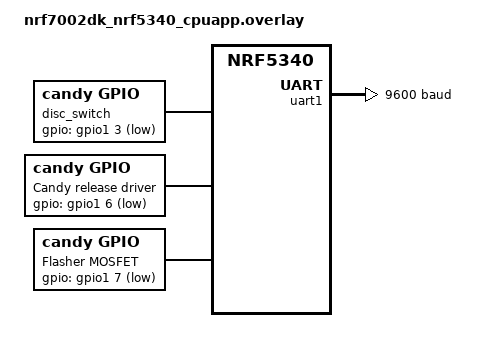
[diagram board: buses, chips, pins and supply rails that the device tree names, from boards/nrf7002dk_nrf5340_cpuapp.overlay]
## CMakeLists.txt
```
cmake_minimum_required(VERSION 3.20.0)
# Wi-Fi/server settings live in a git-ignored file (see wifi_secrets.conf.example)
if(EXISTS ${CMAKE_CURRENT_SOURCE_DIR}/wifi_secrets.conf)
  list(APPEND EXTRA_CONF_FILE ${CMAKE_CURRENT_SOURCE_DIR}/wifi_secrets.conf)
endif()
find_package(Zephyr REQUIRED HINTS $ENV{ZEPHYR_BASE})
project(halloween_candy_dispenser)
target_sources(app PRIVATE src/main.c src/report.c ../common/fota.c)
target_include_directories(app PRIVATE ../common)
if(CONFIG_HALLOWEEN_DFPLAYER)
  target_sources(app PRIVATE ../common/dfplayer.c)
endif()
```

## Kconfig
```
menu "Candy dispenser reporting"

config HALLOWEEN_WIFI_SSID
    string "Wi-Fi SSID"
    default ""
    help
      Leave empty to disable reporting. Set it in the git-ignored
      wifi_secrets.conf (see wifi_secrets.conf.example).

config HALLOWEEN_WIFI_PASSWORD
    string "Wi-Fi password (WPA2/WPA3-Personal, empty for an open network)"
    default ""

config HALLOWEEN_REPORT_HOST
    string "Dispense counter server host or IPv4 address"
    default ""

config HALLOWEEN_REPORT_PORT
    int "Dispense counter server TCP port"
    default 8080

config HALLOWEEN_REPORT_PATH
    string "HTTP path that receives dispense events"
    default "/api/dispense"

config HALLOWEEN_REPORT_API_KEY
    string "API key sent in the X-API-Key header"
    default ""

config HALLOWEEN_REPORT_TEST
    bool "Report test mode: send a fake dispense event every second"
    help
      Exercises the Wi-Fi/web server flow without releasing candy. Keep off
      for normal operation.

endmenu

menu "Candy dispenser flasher"

config HALLOWEEN_FLASH_SECONDS
    int "Seconds the flasher output flashes after a candy release"
    range 1 600
    default 40
    help
      Set this to the length of the final celebration song. Used only when the board
      overlay has a flasher node (MOSFET output).

config HALLOWEEN_FLASH_PERIOD_MS
    int "Flash period in milliseconds (on + off)"
    range 20 10000
    default 500

endmenu

menu "Candy dispenser sound"

config HALLOWEEN_DFPLAYER
    bool "DFPlayer Mini sound module on UART1"
    select SERIAL
    select UART_INTERRUPT_DRIVEN
    help
      Plays tracks requested by the stations (MSG_PLAY_TRACK, or the track
      in the candy release request). Needs a dfplayer_uart node in the
      board overlay.

config HALLOWEEN_DFPLAYER_VOLUME
    int "DFPlayer volume (0..30)"
    range 0 30
    default 20
    depends on HALLOWEEN_DFPLAYER

endmenu

source "Kconfig.zephyr"
```

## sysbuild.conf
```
# Wi-Fi firmware support; no MCUboot because the Wi-Fi app does not fit a 464 KB slot
SB_CONFIG_WIFI_NRF70=y
# Network core must run the BT HCI firmware, otherwise "HCI driver open failed (-11)"
SB_CONFIG_NETCORE_IPC_RADIO=y
SB_CONFIG_NETCORE_IPC_RADIO_BT_HCI_IPC=y
SB_CONFIG_PARTITION_MANAGER=n
```

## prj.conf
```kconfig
CONFIG_GPIO=y

CONFIG_BT=y
CONFIG_BT_OBSERVER=y
CONFIG_BT_BROADCASTER=y
CONFIG_BT_DEVICE_NAME="HalloweenCandy"

CONFIG_LOG=y
CONFIG_LOG_DEFAULT_LEVEL=3
CONFIG_MAIN_STACK_SIZE=4096
CONFIG_HEAP_MEM_POOL_SIZE=1024
```

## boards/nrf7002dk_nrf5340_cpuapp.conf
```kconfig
CONFIG_WIFI=y
CONFIG_WIFI_NRF70=y
CONFIG_WIFI_NM_WPA_SUPPLICANT=y
CONFIG_NETWORKING=y
CONFIG_NET_L2_ETHERNET=y
CONFIG_NET_SOCKETS=y
CONFIG_NET_IPV4=y
CONFIG_NET_TCP=y
CONFIG_NET_DHCPV4=y
CONFIG_DNS_RESOLVER=y
CONFIG_NET_CONFIG_SETTINGS=y
CONFIG_NET_CONFIG_INIT_TIMEOUT=0
CONFIG_HTTP_CLIENT=y
CONFIG_ENTROPY_GENERATOR=y
CONFIG_POSIX_TIMERS=y
CONFIG_HEAP_MEM_POOL_SIZE=37000
CONFIG_HEAP_MEM_POOL_IGNORE_MIN=y
CONFIG_NRF_WIFI_CTRL_HEAP_SIZE=20000
CONFIG_NRF_WIFI_DATA_HEAP_SIZE=40000
CONFIG_NET_PKT_RX_COUNT=16
CONFIG_NET_PKT_TX_COUNT=16
CONFIG_NET_BUF_RX_COUNT=16
CONFIG_NET_BUF_TX_COUNT=32
CONFIG_NRF70_RX_NUM_BUFS=16
CONFIG_NET_TX_STACK_SIZE=4096
CONFIG_NET_RX_STACK_SIZE=4096
CONFIG_NET_MAX_CONTEXTS=10
CONFIG_ZVFS_POLL_MAX=10
CONFIG_NRF70_SR_COEX=y
CONFIG_NRF70_SR_COEX_RF_SWITCH=y
CONFIG_USE_SEGGER_RTT=y
CONFIG_LOG_BACKEND_RTT=y
CONFIG_LOG_BACKEND_UART=n
CONFIG_SEGGER_RTT_BUFFER_SIZE_UP=8192
CONFIG_LOG_BUFFER_SIZE=8192
```

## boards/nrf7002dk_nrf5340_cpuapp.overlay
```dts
/*
 * nRF7002 DK (nRF5340 app core). All signals on the Arduino header (1.8 V logic).
 * Candy driver output: P1.06 = LED1, D4 (active-low, inverting transistor stage)
 * Disc switch      : P1.03 (active-low, pull-up)
 * Flasher MOSFET    : P1.07 = LED2, D5 (active-low, inverting stage)
 */

/ {
    /* Disc position switch to GND: active (pin low) at disc position 0. */
    disc_switch: disc_switch {
        compatible = "candy,gpio";
        gpios = <&gpio1 3 (GPIO_ACTIVE_LOW | GPIO_PULL_UP)>;
    };

    candy_actuator: candy_actuator {
        compatible = "candy,gpio";
        gpios = <&gpio1 6 GPIO_ACTIVE_LOW>; /* inverting transistor stage */
        label = "Candy release driver";
    };

    /* MOSFET gate that flashes during the final song. */
    flasher: flasher {
        compatible = "candy,gpio";
        gpios = <&gpio1 7 GPIO_ACTIVE_LOW>; /* inverting stage, like the candy driver */
        label = "Flasher MOSFET";
    };
};

/*
 * DFPlayer Mini on the Arduino serial port (UART1: TX P1.01 = D1, RX P1.00 = D0), 9600 8N1,
 * used when CONFIG_HALLOWEEN_DFPLAYER=y. The Arduino header is 1.8 V logic, so the DFPlayer
 * (3.3 V) needs a level shifter, or at least a divider on its TX line.
 */
dfplayer_uart: &uart1 {
    status = "okay";
    current-speed = <9600>;
};
```

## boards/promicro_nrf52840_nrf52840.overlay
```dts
/*
 * EXAMPLE pin map only. Verify all pins against your exact Pro Micro variant.
 * Candy actuator: P0.10 output to a suitable driver/MOSFET, never directly
 * drive a solenoid or motor from the nRF GPIO.
 */

/ {
    candy_actuator: candy_actuator {
        compatible = "candy,gpio";
        gpios = <&gpio0 10 GPIO_ACTIVE_HIGH>;
        label = "Candy release driver";
    };

    /* Flasher MOSFET gate, flashes during the final song. Verify the pin for your board. */
    flasher: flasher {
        compatible = "candy,gpio";
        gpios = <&gpio0 20 GPIO_ACTIVE_HIGH>;
        label = "Flasher MOSFET";
    };
};
```

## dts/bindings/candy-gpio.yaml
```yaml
description: Single GPIO pin used by the candy dispenser (keypad row/column or actuator)

compatible: "candy,gpio"

properties:
  gpios:
    type: phandle-array
    required: true
  label:
    type: string
```

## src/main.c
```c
#include <errno.h>
#include <stdbool.h>
#include <stdint.h>
#include <string.h>

#include <zephyr/kernel.h>
#include <zephyr/device.h>
#include <zephyr/drivers/gpio.h>
#include <zephyr/bluetooth/bluetooth.h>
#include <zephyr/bluetooth/hci.h>
#include <zephyr/logging/log.h>

#include "fota.h"
#include "dfplayer.h"
#include "report.h"

LOG_MODULE_REGISTER(candy, LOG_LEVEL_INF);

/* Protocol shared with the stations (see ../stations/src/main.c). */
#define HALLOWEEN_SERVICE_UUID 0xFFF0
#define PROTOCOL_VERSION 1
#define MAGIC_0 0x48
#define MAGIC_1 0x57
#define MSG_IDLE 3
#define MSG_RELEASE_CANDY 4 /* station 5 -> dispenser */
#define MSG_CANDY_DONE 7    /* dispenser -> station 5 */
#define MSG_PLAY_TRACK 8    /* any station -> dispenser: play a track */
#define MSG_RUN_DISC 9      /* remote control: turn the disc while this keeps arriving */
#define RUN_DISC_TIMEOUT_MS 500
#define LAST_STATION_ID 5
#define DISPENSER_ID 0

#define PAYLOAD_LEN 11
#define SERVICE_DATA_LEN (2 + PAYLOAD_LEN)

#define ACTUATOR_PULSE_MS 800 /* fallback when there is no disc switch */
#define DISC_LEAVE_TIMEOUT_MS 5000
#define DISC_HOME_TIMEOUT_MS 10000

/* Set to 1 to run only the disc test (driver runs until the switch, repeat). */
#define DISC_TEST 0

static const struct gpio_dt_spec actuator =
    GPIO_DT_SPEC_GET(DT_NODELABEL(candy_actuator), gpios);

#if DT_NODE_EXISTS(DT_NODELABEL(disc_switch))
#define HAS_DISC_SWITCH 1
static const struct gpio_dt_spec disc_switch =
    GPIO_DT_SPEC_GET(DT_NODELABEL(disc_switch), gpios);
#else
#define HAS_DISC_SWITCH 0
#endif

#if DT_NODE_EXISTS(DT_NODELABEL(flasher))
#define HAS_FLASHER 1
static const struct gpio_dt_spec flasher = GPIO_DT_SPEC_GET(DT_NODELABEL(flasher), gpios);
#else
#define HAS_FLASHER 0
#endif

/* Value field: bits 0..15 = DFPlayer track (0 = none), bits 16..23 = sequence (MSG_PLAY_TRACK). */
struct release_request {
    uint8_t type;
    uint8_t source;
    uint8_t seq;
    uint16_t session;
    uint16_t track;
};

#if CONFIG_HALLOWEEN_DFPLAYER
#if !DT_NODE_EXISTS(DT_NODELABEL(dfplayer_uart))
#error "CONFIG_HALLOWEEN_DFPLAYER needs a dfplayer_uart node in the board overlay"
#endif
static const struct device *const dfplayer_dev = DEVICE_DT_GET(DT_NODELABEL(dfplayer_uart));
#endif

static uint8_t last_play_seq[LAST_STATION_ID + 1];

/* BLE scan callback runs outside the main thread; queue requests for it. */
K_MSGQ_DEFINE(release_msgq, sizeof(struct release_request), 4, 4);

#define SESSION_HISTORY 8
/* Recent sessions: delayed copies of an old request (e.g. relayed by a station) must not release again. */
static uint16_t released_sessions[SESSION_HISTORY];
static size_t released_next;

static bool session_released(uint16_t session)
{
    for (size_t i = 0; i < SESSION_HISTORY; i++) {
        if (released_sessions[i] == session) {
            return true;
        }
    }
    return false;
}

static uint8_t service_data[SERVICE_DATA_LEN];
static const uint8_t adv_flags = BT_LE_AD_GENERAL | BT_LE_AD_NO_BREDR;
static struct bt_data ad[] = {
    BT_DATA(BT_DATA_FLAGS, &adv_flags, sizeof(adv_flags)),
    BT_DATA(BT_DATA_SVC_DATA16, service_data, sizeof(service_data)),
};

static void fill_beacon(uint8_t type, uint8_t target, uint16_t session)
{
    service_data[0] = (uint8_t)(HALLOWEEN_SERVICE_UUID & 0xff);
    service_data[1] = (uint8_t)(HALLOWEEN_SERVICE_UUID >> 8);
    service_data[2] = MAGIC_0;
    service_data[3] = MAGIC_1;
    service_data[4] = PROTOCOL_VERSION;
    service_data[5] = type;
    service_data[6] = target;
    service_data[7] = DISPENSER_ID;
    service_data[8] = (uint8_t)(session & 0xff);
    service_data[9] = (uint8_t)(session >> 8);
    service_data[10] = 0;
    service_data[11] = 0;
    service_data[12] = 0;
}

static void set_beacon(uint8_t type, uint8_t target, uint16_t session)
{
    fill_beacon(type, target, session);

    int rc = fota_adv_update(ad, ARRAY_SIZE(ad));
    if (rc < 0) {
        LOG_ERR("Updating BLE beacon failed: %d", rc);
    }
}

static bool parse_service_data(struct bt_data *data, void *user_data)
{
    struct release_request *out = user_data;

    if (data->type != BT_DATA_SVC_DATA16 || data->data_len < SERVICE_DATA_LEN) {
        return true;
    }

    if (data->data[0] != (uint8_t)(HALLOWEEN_SERVICE_UUID & 0xff) ||
        data->data[1] != (uint8_t)(HALLOWEEN_SERVICE_UUID >> 8)) {
        return true;
    }

    const uint8_t *p = data->data + 2;
    if (p[0] != MAGIC_0 || p[1] != MAGIC_1 || p[2] != PROTOCOL_VERSION ||
        p[4] != DISPENSER_ID) {
        return true;
    }
    if (!(p[3] == MSG_RELEASE_CANDY && p[5] == LAST_STATION_ID) &&
        !(p[3] == MSG_PLAY_TRACK && p[5] >= 1 && p[5] <= LAST_STATION_ID) &&
        !(p[3] == MSG_RUN_DISC && p[5] == LAST_STATION_ID)) {
        return true;
    }

    out->type = p[3];
    out->source = p[5];
    out->session = (uint16_t)p[6] | ((uint16_t)p[7] << 8);
    out->track = (uint16_t)p[8] | ((uint16_t)p[9] << 8);
    out->seq = p[10];
    return false;
}

static void device_found(const bt_addr_le_t *addr, int8_t rssi,
                         uint8_t adv_type, struct net_buf_simple *ad_buf)
{
    ARG_UNUSED(addr);
    ARG_UNUSED(rssi);
    ARG_UNUSED(adv_type);

    struct release_request req = {0};
    bt_data_parse(ad_buf, parse_service_data, &req);
    if (req.type != 0) {
        (void)k_msgq_put(&release_msgq, &req, K_NO_WAIT);
    }
}

#if HAS_DISC_SWITCH
static bool wait_disc_switch(bool active, int64_t timeout_ms)
{
    int64_t end = k_uptime_get() + timeout_ms;

    while (k_uptime_get() < end) {
        if (gpio_pin_get_dt(&disc_switch) == (active ? 1 : 0)) {
            return true;
        }
        k_msleep(2);
    }
    return false;
}
#endif

/* Turn the disc one position: run the driver until the disc has left home
 * and come back to the home switch. */
static bool release_candy(void)
{
    bool ok = true;

    (void)gpio_pin_set_dt(&actuator, 1);

#if HAS_DISC_SWITCH
    if (gpio_pin_get_dt(&disc_switch) == 1 &&
        !wait_disc_switch(false, DISC_LEAVE_TIMEOUT_MS)) {
        LOG_ERR("Disc did not leave home position");
        ok = false;
    } else if (!wait_disc_switch(true, DISC_HOME_TIMEOUT_MS)) {
        LOG_ERR("Timeout waiting for disc home switch");
        ok = false;
    }
#else
    k_msleep(ACTUATOR_PULSE_MS);
#endif

    (void)gpio_pin_set_dt(&actuator, 0);
    return ok;
}

#if HAS_FLASHER
#define FLASH_HALF_PERIOD_MS (CONFIG_HALLOWEEN_FLASH_PERIOD_MS / 2)

static struct k_work_delayable flash_work;
static int64_t flash_end_ms;
static bool flash_on;

static void flash_handler(struct k_work *work)
{
    if (k_uptime_get() >= flash_end_ms) {
        flash_on = false;
        (void)gpio_pin_set_dt(&flasher, 0);
        return;
    }
    flash_on = !flash_on;
    (void)gpio_pin_set_dt(&flasher, flash_on);
    k_work_reschedule(&flash_work, K_MSEC(FLASH_HALF_PERIOD_MS));
}

/* Flash for the length of the final celebration song, starting now. */
static void flash_start(void)
{
    flash_end_ms = k_uptime_get() + CONFIG_HALLOWEEN_FLASH_SECONDS * 1000;
    flash_on = false;
    k_work_reschedule(&flash_work, K_NO_WAIT);
}
#else
static inline void flash_start(void)
{
}
#endif

#if DISC_TEST && HAS_DISC_SWITCH
static void disc_test_thread(void *a, void *b, void *c)
{
    ARG_UNUSED(a);
    ARG_UNUSED(b);
    ARG_UNUSED(c);

    while (1) {
        release_candy();
        k_sleep(K_SECONDS(2));
    }
}

K_THREAD_DEFINE(disc_test, 1024, disc_test_thread, NULL, NULL, NULL, 7, 0, 1000);
#endif

int main(void)
{
    int rc;

    rc = gpio_pin_configure_dt(&actuator, GPIO_OUTPUT_INACTIVE);
    if (rc < 0) {
        LOG_ERR("Actuator GPIO setup failed: %d", rc);
        return 0;
    }

#if HAS_FLASHER
    rc = gpio_pin_configure_dt(&flasher, GPIO_OUTPUT_INACTIVE);
    if (rc < 0) {
        LOG_ERR("Flasher GPIO setup failed: %d", rc);
        return 0;
    }
    k_work_init_delayable(&flash_work, flash_handler);
#endif

#if HAS_DISC_SWITCH
    rc = gpio_pin_configure_dt(&disc_switch, GPIO_INPUT);
    if (rc < 0) {
        LOG_ERR("Disc switch setup failed: %d", rc);
        return 0;
    }
#endif

    rc = bt_enable(NULL);
    if (rc < 0) {
        LOG_ERR("Bluetooth init failed: %d", rc);
        return 0;
    }

    /* Advertising is not running yet, so only fill the payload (updating would fail with -11) */
    fill_beacon(MSG_IDLE, 0, 0);
    rc = fota_adv_start(ad, ARRAY_SIZE(ad), "HW-Candy");
    if (rc < 0) {
        LOG_ERR("BLE advertising start failed: %d", rc);
        return 0;
    }
    fota_confirm_image();

    rc = bt_le_scan_start(BT_LE_SCAN_ACTIVE, device_found);
    if (rc < 0) {
        LOG_ERR("BLE scan start failed: %d", rc);
        return 0;
    }

#if CONFIG_HALLOWEEN_DFPLAYER
    (void)dfplayer_init(dfplayer_dev, CONFIG_HALLOWEEN_DFPLAYER_VOLUME);
#endif

    report_init();
    LOG_INF("Candy dispenser ready");

    while (1) {
        struct release_request req;

        if (k_msgq_get(&release_msgq, &req, K_FOREVER) != 0) {
            continue;
        }

        /* Manual mode: the disc turns as long as the remote's beacons keep coming. */
        if (req.type == MSG_RUN_DISC) {
            LOG_INF("Remote: turning the disc");
            (void)gpio_pin_set_dt(&actuator, 1);
            while (k_msgq_get(&release_msgq, &req, K_MSEC(RUN_DISC_TIMEOUT_MS)) == 0) {
                /* Each message restarts the timeout; other messages are dropped meanwhile. */
            }
            (void)gpio_pin_set_dt(&actuator, 0);
            LOG_INF("Remote: disc stopped");
            continue;
        }

        /* Beacons repeat, so play each requested sequence once. */
        if (req.type == MSG_PLAY_TRACK) {
            if (req.seq != last_play_seq[req.source]) {
                last_play_seq[req.source] = req.seq;
                LOG_INF("Station %u asks for track %u", req.source, req.track);
                dfplayer_play(req.track);
            }
            continue;
        }

        /* Station 5 repeats its request until it hears the confirmation, so
         * release only once per session and keep confirming it. */
        if (!session_released(req.session)) {
            LOG_INF("Release requested (session=%u)", req.session);
            /* Remember the session first: requests queued during the release must not repeat it. */
            released_sessions[released_next] = req.session;
            released_next = (released_next + 1) % SESSION_HISTORY;
            dfplayer_play(req.track);
            flash_start();
            bool ok = release_candy();

            if (ok) {
                report_dispense(req.session);
            } else {
                LOG_WRN("Release not confirmed by disc switch; not counted");
            }
            set_beacon(MSG_CANDY_DONE, LAST_STATION_ID, req.session);
            LOG_INF("Candy released; confirmation advertised");
        }
    }
    return 0;
}
```

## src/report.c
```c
#include <zephyr/kernel.h>
#include <zephyr/logging/log.h>

#include "report.h"

LOG_MODULE_REGISTER(report, LOG_LEVEL_INF);

#if defined(CONFIG_WIFI)

#include <errno.h>
#include <stdio.h>
#include <string.h>
#include <zephyr/net/http/client.h>
#include <zephyr/net/net_if.h>
#include <zephyr/net/net_mgmt.h>
#include <zephyr/net/socket.h>
#include <zephyr/net/wifi_mgmt.h>
#include <zephyr/random/random.h>

#define REPORT_ENABLED (sizeof(CONFIG_HALLOWEEN_WIFI_SSID) > 1 && \
                        sizeof(CONFIG_HALLOWEEN_REPORT_HOST) > 1)

#define WIFI_CONNECT_TIMEOUT_S 30
#define RETRY_DELAY_S 10
#define HTTP_TIMEOUT_MS 5000
#define EVENT_QUEUE_LEN 16

struct dispense_event {
    uint32_t seq;
    uint16_t session;
};

K_MSGQ_DEFINE(event_q, sizeof(struct dispense_event), EVENT_QUEUE_LEN, 4);
K_SEM_DEFINE(ip_sem, 0, 1);

/* The server uses boot_id + seq to ignore an event that is retried after the
 * reply to the first attempt was lost. */
static uint32_t boot_id;
static uint32_t next_seq;
static volatile bool online;

static struct net_mgmt_event_callback wifi_cb;
static struct net_mgmt_event_callback ipv4_cb;

static void wifi_event_handler(struct net_mgmt_event_callback *cb,
                               uint64_t mgmt_event, struct net_if *iface)
{
    ARG_UNUSED(iface);

    switch (mgmt_event) {
    case NET_EVENT_WIFI_CONNECT_RESULT: {
        const struct wifi_status *status = cb->info;

        if (status->status) {
            LOG_WRN("Wi-Fi connection failed (%d)", status->status);
        } else {
            LOG_INF("Wi-Fi connected");
        }
        break;
    }
    case NET_EVENT_WIFI_DISCONNECT_RESULT:
        online = false;
        LOG_WRN("Wi-Fi disconnected");
        break;
    default:
        break;
    }
}

static void ipv4_event_handler(struct net_mgmt_event_callback *cb,
                               uint64_t mgmt_event, struct net_if *iface)
{
    ARG_UNUSED(cb);

    if (mgmt_event == NET_EVENT_IPV4_ADDR_ADD) {
        struct net_if_config *cfg = net_if_get_config(iface);

        if (cfg != NULL && cfg->ip.ipv4 != NULL) {
            for (int i = 0; i < NET_IF_MAX_IPV4_ADDR; i++) {
                struct net_if_addr *a = &cfg->ip.ipv4->unicast[i].ipv4;
                char buf[NET_IPV4_ADDR_LEN];

                if (a->is_used &&
                    net_addr_ntop(AF_INET, &a->address.in_addr, buf, sizeof(buf))) {
                    LOG_INF("Got IPv4 address %s", buf);
                }
            }
        }
        online = true;
        k_sem_give(&ip_sem);
    }
}

static int wifi_connect(void)
{
    struct net_if *iface = net_if_get_first_wifi();
    struct wifi_connect_req_params params = {
        .ssid = (const uint8_t *)CONFIG_HALLOWEEN_WIFI_SSID,
        .ssid_length = sizeof(CONFIG_HALLOWEEN_WIFI_SSID) - 1,
        .psk = (const uint8_t *)CONFIG_HALLOWEEN_WIFI_PASSWORD,
        .psk_length = sizeof(CONFIG_HALLOWEEN_WIFI_PASSWORD) - 1,
        .security = sizeof(CONFIG_HALLOWEEN_WIFI_PASSWORD) > 1 ?
                    WIFI_SECURITY_TYPE_PSK : WIFI_SECURITY_TYPE_NONE,
        .band = WIFI_FREQ_BAND_UNKNOWN,
        .channel = WIFI_CHANNEL_ANY,
        .mfp = WIFI_MFP_OPTIONAL,
        .timeout = SYS_FOREVER_MS,
    };

    if (iface == NULL) {
        return -ENODEV;
    }

    LOG_INF("Connecting to Wi-Fi SSID \"%s\" (%s)", CONFIG_HALLOWEEN_WIFI_SSID,
            params.security == WIFI_SECURITY_TYPE_PSK ? "WPA-PSK" : "open");
    k_sem_reset(&ip_sem);
    int rc = net_mgmt(NET_REQUEST_WIFI_CONNECT, iface, &params, sizeof(params));

    /* -ENOTSUP/-ENETDOWN: the supplicant has not registered the interface yet after boot */
    for (int i = 0; i < 20 && (rc == -ENOTSUP || rc == -ENETDOWN); i++) {
        k_sleep(K_MSEC(500));
        rc = net_mgmt(NET_REQUEST_WIFI_CONNECT, iface, &params, sizeof(params));
    }

    if (rc) {
        LOG_ERR("Wi-Fi connect request rejected: %d", rc);
        return rc;
    }

    if (k_sem_take(&ip_sem, K_SECONDS(WIFI_CONNECT_TIMEOUT_S)) != 0) {
        LOG_ERR("No IP address within %d s (wrong password, out of range or no DHCP?)",
                WIFI_CONNECT_TIMEOUT_S);
        (void)net_mgmt(NET_REQUEST_WIFI_DISCONNECT, iface, NULL, 0);
        return -ETIMEDOUT;
    }
    return 0;
}

static int response_cb(struct http_response *rsp, enum http_final_call final_data,
                        void *user_data)
{
    ARG_UNUSED(final_data);

    if (rsp->http_status_code != 0) {
        *(uint16_t *)user_data = rsp->http_status_code;
    }
    return 0;
}

/* Returns 0 when the event was accepted or can never be accepted (so it is dropped),
 * and a negative value when it should be retried later. */
static int post_event(const struct dispense_event *ev)
{
    struct zsock_addrinfo hints = { .ai_family = AF_INET, .ai_socktype = SOCK_STREAM };
    struct zsock_addrinfo *res = NULL;
    char port[8];
    char body[80];
    char api_key_header[sizeof(CONFIG_HALLOWEEN_REPORT_API_KEY) + 16];
    uint8_t recv_buf[256];
    uint16_t status = 0;
    int rc;

    snprintf(port, sizeof(port), "%d", CONFIG_HALLOWEEN_REPORT_PORT);
    LOG_INF("POST seq=%u to %s:%s%s", (unsigned int)ev->seq, CONFIG_HALLOWEEN_REPORT_HOST,
            port, CONFIG_HALLOWEEN_REPORT_PATH);
    rc = zsock_getaddrinfo(CONFIG_HALLOWEEN_REPORT_HOST, port, &hints, &res);
    if (rc != 0) {
        LOG_ERR("Resolving %s failed: %d", CONFIG_HALLOWEEN_REPORT_HOST, rc);
        return -EHOSTUNREACH;
    }

    int sock = zsock_socket(res->ai_family, SOCK_STREAM, IPPROTO_TCP);

    if (sock < 0) {
        LOG_ERR("Creating socket failed: %d", errno);
        zsock_freeaddrinfo(res);
        return -errno;
    }

    rc = zsock_connect(sock, res->ai_addr, res->ai_addrlen);
    zsock_freeaddrinfo(res);
    if (rc < 0) {
        LOG_ERR("Connecting to server failed: %d", errno);
        zsock_close(sock);
        return -ECONNREFUSED;
    }

    int body_len = snprintf(body, sizeof(body),
                            "{\"boot\":%u,\"seq\":%u,\"session\":%u}",
                            (unsigned int)boot_id, (unsigned int)ev->seq,
                            (unsigned int)ev->session);
    snprintf(api_key_header, sizeof(api_key_header), "X-API-Key: %s\r\n",
             CONFIG_HALLOWEEN_REPORT_API_KEY);

    const char *const headers[] = { api_key_header, NULL };
    struct http_request req = {
        .method = HTTP_POST,
        .url = CONFIG_HALLOWEEN_REPORT_PATH,
        .host = CONFIG_HALLOWEEN_REPORT_HOST,
        .protocol = "HTTP/1.1",
        .header_fields = headers,
        .content_type_value = "application/json",
        .payload = body,
        .payload_len = body_len,
        .response = response_cb,
        .recv_buf = recv_buf,
        .recv_buf_len = sizeof(recv_buf),
    };

    rc = http_client_req(sock, &req, HTTP_TIMEOUT_MS, &status);
    zsock_close(sock);
    LOG_INF("HTTP request returned rc=%d status=%u", rc, status);

    if (rc < 0) {
        LOG_ERR("HTTP request failed: %d", rc);
        return -EIO;
    }
    if (status >= 200 && status < 300) {
        LOG_INF("Reported dispense seq=%u session=%u", (unsigned int)ev->seq,
                (unsigned int)ev->session);
        return 0;
    }
    if (status >= 400 && status < 500) {
        LOG_ERR("Server rejected dispense report (HTTP %u); check the API key and path",
                status);
        return 0;
    }
    LOG_WRN("Server error (HTTP %u); will retry", status);
    return -EIO;
}

static void report_thread(void *a, void *b, void *c)
{
    ARG_UNUSED(a);
    ARG_UNUSED(b);
    ARG_UNUSED(c);

    struct dispense_event pending;
    bool have_pending = false;

    while (1) {
        if (!online) {
            int rc = wifi_connect();

            if (rc) {
                LOG_WRN("Wi-Fi connect failed: %d; retrying", rc);
                k_sleep(K_SECONDS(RETRY_DELAY_S));
                continue;
            }
        }

        if (!have_pending) {
            have_pending = k_msgq_get(&event_q, &pending, K_SECONDS(1)) == 0;
        }

        if (have_pending) {
            if (post_event(&pending) == 0) {
                have_pending = false;
            } else {
                k_sleep(K_SECONDS(RETRY_DELAY_S));
            }
        }
    }
}

#if defined(CONFIG_HALLOWEEN_REPORT_TEST)
static void test_work_handler(struct k_work *work);
static K_WORK_DELAYABLE_DEFINE(test_work, test_work_handler);

static void test_work_handler(struct k_work *work)
{
    ARG_UNUSED(work);
    report_dispense(0);
    k_work_schedule(&test_work, K_SECONDS(1));
}
#endif

K_THREAD_STACK_DEFINE(report_stack, 6144);
static struct k_thread report_thread_data;

void report_init(void)
{
    if (!REPORT_ENABLED) {
        LOG_WRN("Wi-Fi/server not configured (see wifi_secrets.conf.example); not reporting");
        return;
    }

    boot_id = sys_rand32_get();

    net_mgmt_init_event_callback(&wifi_cb, wifi_event_handler,
                                 NET_EVENT_WIFI_CONNECT_RESULT |
                                 NET_EVENT_WIFI_DISCONNECT_RESULT);
    net_mgmt_add_event_callback(&wifi_cb);
    net_mgmt_init_event_callback(&ipv4_cb, ipv4_event_handler, NET_EVENT_IPV4_ADDR_ADD);
    net_mgmt_add_event_callback(&ipv4_cb);

    k_thread_create(&report_thread_data, report_stack, K_THREAD_STACK_SIZEOF(report_stack),
                    report_thread, NULL, NULL, NULL, 8, 0, K_NO_WAIT);
    k_thread_name_set(&report_thread_data, "report");
#if defined(CONFIG_HALLOWEEN_REPORT_TEST)
    LOG_WRN("Report test mode: sending a fake dispense every second");
    k_work_schedule(&test_work, K_SECONDS(1));
#endif
    LOG_INF("Reporting dispenses to http://%s:%d%s", CONFIG_HALLOWEEN_REPORT_HOST,
            CONFIG_HALLOWEEN_REPORT_PORT, CONFIG_HALLOWEEN_REPORT_PATH);
}

void report_dispense(uint16_t session)
{
    if (!REPORT_ENABLED) {
        return;
    }

    struct dispense_event ev = { .seq = next_seq++, .session = session };

    LOG_INF("Queueing dispense seq=%u session=%u (online=%d)", (unsigned int)ev.seq,
            (unsigned int)session, online);

    if (k_msgq_put(&event_q, &ev, K_NO_WAIT) != 0) {
        LOG_ERR("Report queue full; dispense seq=%u not reported", (unsigned int)ev.seq);
    }
}

#else

void report_init(void)
{
}

void report_dispense(uint16_t session)
{
    ARG_UNUSED(session);
}

#endif
```

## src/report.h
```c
#ifndef HALLOWEEN_REPORT_H_
#define HALLOWEEN_REPORT_H_

#include <stdint.h>

/*
 * Reports every released candy to the dispense counter web server over Wi-Fi.
 * Without Wi-Fi support in the build, or without Wi-Fi/server settings, these
 * functions do nothing.
 */

/* Start the background Wi-Fi/HTTP reporter thread. */
void report_init(void);

/* Queue one dispense event for the web server. Never blocks. */
void report_dispense(uint16_t session);

#endif
```
